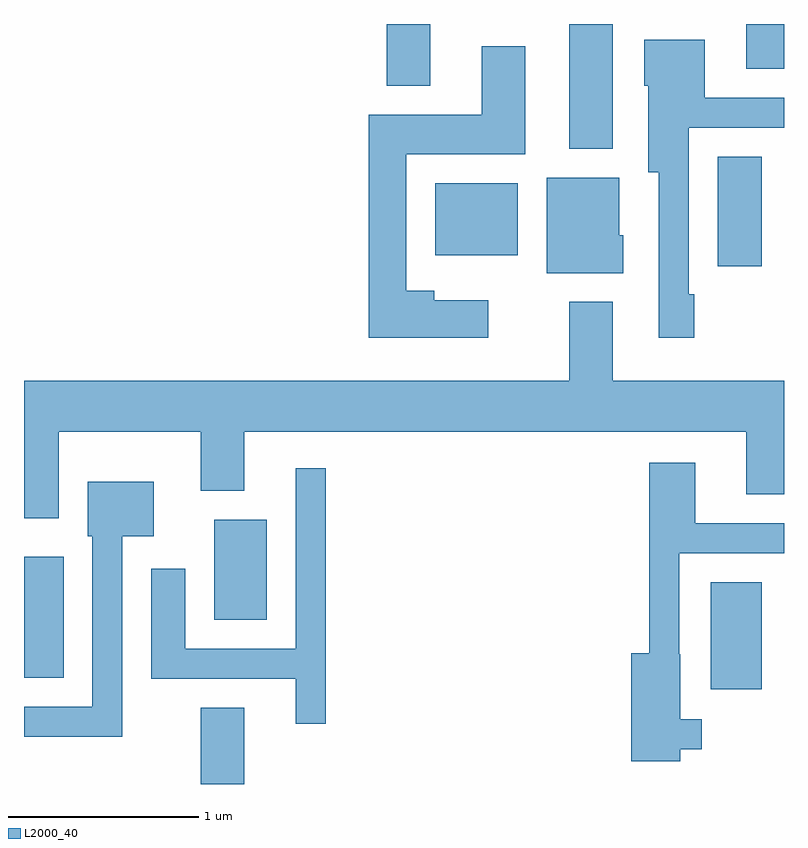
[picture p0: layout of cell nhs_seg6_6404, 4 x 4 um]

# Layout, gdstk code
import gdstk
lib = gdstk.Library(unit=1e-6, precision=1e-09)
def R(c, l, rs):  # rectangles x0, y0, x1, y1
    for r in rs: c.add(gdstk.rectangle(r[:2], r[2:], *l))
def P(c, l, *ps):  # polygons
    for p in ps: c.add(gdstk.Polygon(p, *l))
L2000_40 = (2000, 40)

nhs_seg6_6404 = lib.new_cell('nhs_seg6_6404')
R(nhs_seg6_6404, L2000_40, [(380.541,1568.162,380.769,1568.564), (383.226,1568.661,383.494,1569.224), (379.611,1568.721,379.819,1569.359), (380.611,1569.026,380.889,1569.554), (383.261,1570.886,383.494,1571.464), (381.776,1570.946,382.209,1571.324), (382.481,1571.506,382.709,1572.162), (381.521,1571.836,381.749,1572.162), (383.411,1571.926,383.611,1572.162)])
P(nhs_seg6_6404, L2000_40, [(383.139,1570.739),(383.109,1570.739),(383.109,1571.616),(383.611,1571.616),(383.611,1571.774),(383.194,1571.774),(383.194,1572.079),(382.876,1572.079),(382.876,1571.836),(382.896,1571.836),(382.896,1571.381),(382.951,1571.381),(382.951,1570.511),(383.139,1570.511)],
  [(382.054,1570.709),(381.769,1570.709),(381.769,1570.759),(381.624,1570.759),(381.624,1571.476),(382.249,1571.476),(382.249,1572.044),(382.021,1572.044),(382.021,1571.684),(381.426,1571.684),(381.426,1570.511),(382.054,1570.511)],
  [(382.764,1571.049),(382.744,1571.049),(382.744,1571.354),(382.361,1571.354),(382.361,1570.851),(382.764,1570.851)],
  [(379.794,1570.016),(380.541,1570.016),(380.541,1569.706),(380.769,1569.706),(380.769,1570.016),(383.411,1570.016),(383.411,1569.686),(383.611,1569.686),(383.611,1570.284),(382.709,1570.284),(382.709,1570.699),(382.481,1570.699),(382.481,1570.284),(379.611,1570.284),(379.611,1569.561),(379.794,1569.561)],
  [(383.064,1568.346),(383.179,1568.346),(383.179,1568.504),(383.064,1568.504),(383.064,1568.845),(383.059,1568.845),(383.059,1569.376),(383.611,1569.376),(383.611,1569.534),(383.144,1569.534),(383.144,1569.854),(382.901,1569.854),(382.901,1568.849),(382.806,1568.849),(382.806,1568.281),(383.064,1568.281)],
  [(381.199,1569.823),(381.041,1569.823),(381.041,1568.874),(380.459,1568.874),(380.459,1569.294),(380.281,1569.294),(380.281,1568.716),(381.041,1568.716),(381.041,1568.478),(381.199,1568.478)],
  [(380.129,1569.466),(380.294,1569.466),(380.294,1569.754),(379.946,1569.754),(379.946,1569.466),(379.971,1569.466),(379.971,1568.569),(379.611,1568.569),(379.611,1568.411),(380.129,1568.411)])

lib.write_gds('nhs_seg6_6404.gds')
